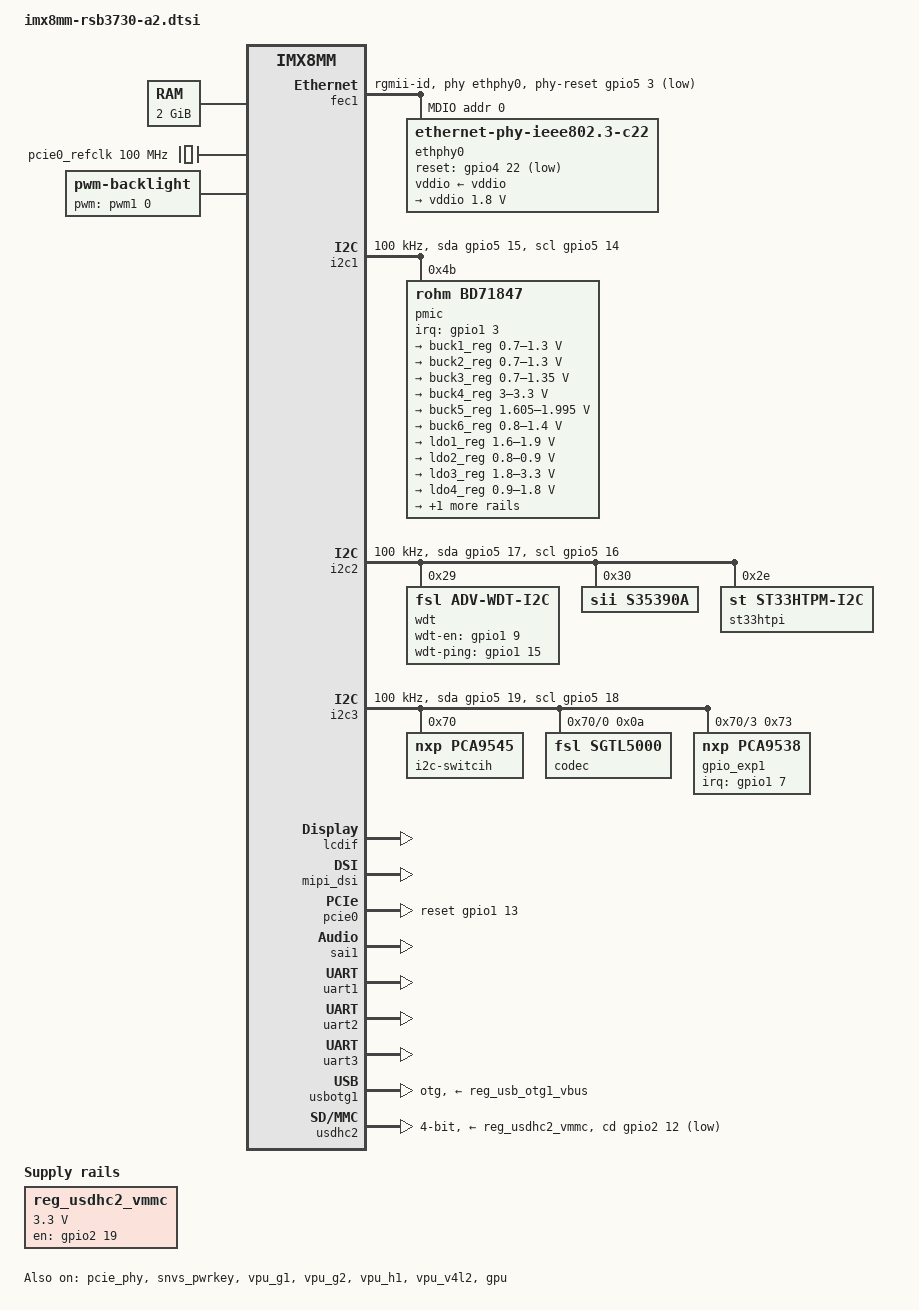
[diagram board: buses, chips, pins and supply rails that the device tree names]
// SPDX-License-Identifier: (GPL-2.0+ OR MIT)
/*
 * Copyright 2020 NXP
 */

/dts-v1/;

#include <dt-bindings/phy/phy-imx8-pcie.h>
#include <dt-bindings/usb/pd.h>
#include "imx8mm.dtsi"

/ {
	chosen {
		stdout-path = &uart2;
	};

	memory@40000000 {
		device_type = "memory";
		reg = <0x0 0x40000000 0 0x80000000>;
	};

	pcie0_refclk: pcie0-refclk {
		compatible = "fixed-clock";
		#clock-cells = <0>;
		clock-frequency = <100000000>;
	};

	reg_usdhc2_vmmc: regulator-usdhc2 {
		compatible = "regulator-fixed";
		pinctrl-names = "default";
		pinctrl-0 = <&pinctrl_reg_usdhc2_vmmc>;
		regulator-name = "VSD_3V3";
		regulator-min-microvolt = <3300000>;
		regulator-max-microvolt = <3300000>;
		gpio = <&gpio2 19 GPIO_ACTIVE_HIGH>;
		off-on-delay-us = <20000>;
		enable-active-high;
	};

	backlight: backlight {
		compatible = "pwm-backlight";
		pwms = <&pwm1 0 5000000 0>;
		brightness-levels = <0 255>;
		num-interpolated-steps = <255>;
		default-brightness-level = <250>;
	};
};

&A53_0 {
	cpu-supply = <&buck2_reg>;
};

&A53_1 {
	cpu-supply = <&buck2_reg>;
};

&A53_2 {
	cpu-supply = <&buck2_reg>;
};

&A53_3 {
	cpu-supply = <&buck2_reg>;
};

&fec1 {
	pinctrl-names = "default";
	pinctrl-0 = <&pinctrl_fec1>;
	phy-mode = "rgmii-id";
	phy-handle = <&ethphy0>;
	fsl,magic-packet;
	phy-reset-gpios = <&gpio5 3 GPIO_ACTIVE_LOW>;
	phy-reset-post-delay = <75>;
	phy-reset-duration = <50>;
	adv,disable-mii-clk;
	status = "okay";

	mdio {
		#address-cells = <1>;
		#size-cells = <0>;

		ethphy0: ethernet-phy@0 {
			compatible = "ethernet-phy-ieee802.3-c22";
			reg = <0>;
			reset-gpios = <&gpio4 22 GPIO_ACTIVE_LOW>;
			// reset-assert-us = <10000>;
			// reset-deassert-us = <80000>;
			realtek,aldps-enable;
			realtek,clkout-disable;
			qca,disable-smarteee;
			vddio-supply = <&vddio>;
			ssc-enable;

			vddio: vddio-regulator {
				regulator-min-microvolt = <1800000>;
				regulator-max-microvolt = <1800000>;
			};
		};
	};
};

&i2c1 {
	clock-frequency = <100000>;
	pinctrl-names = "default", "gpio";
	pinctrl-0 = <&pinctrl_i2c1>;
        pinctrl-1 = <&pinctrl_i2c1_gpio>;
        scl-gpios = <&gpio5 14 GPIO_ACTIVE_HIGH>;
        sda-gpios = <&gpio5 15 GPIO_ACTIVE_HIGH>;
	status = "okay";

	pmic@4b {
		compatible = "rohm,bd71847";
		reg = <0x4b>;
		pinctrl-0 = <&pinctrl_pmic>;
		interrupt-parent = <&gpio1>;
		interrupts = <3 GPIO_ACTIVE_LOW>;
		rohm,reset-snvs-powered;

		regulators {
			buck1_reg: BUCK1 {
				regulator-name = "BUCK1";
				regulator-min-microvolt = <700000>;
				regulator-max-microvolt = <1300000>;
				regulator-boot-on;
				regulator-always-on;
				regulator-ramp-delay = <1250>;
			};

			buck2_reg: BUCK2 {
				regulator-name = "BUCK2";
				regulator-min-microvolt = <700000>;
				regulator-max-microvolt = <1300000>;
				regulator-boot-on;
				regulator-always-on;
				regulator-ramp-delay = <1250>;
				rohm,dvs-run-voltage = <1000000>;
				rohm,dvs-idle-voltage = <900000>;
			};

			buck3_reg: BUCK3 {
				// BUCK5 in datasheet
				regulator-name = "BUCK3";
				regulator-min-microvolt = <700000>;
				regulator-max-microvolt = <1350000>;
				regulator-boot-on;
				regulator-always-on;
			};

			buck4_reg: BUCK4 {
				// BUCK6 in datasheet
				regulator-name = "BUCK4";
				regulator-min-microvolt = <3000000>;
				regulator-max-microvolt = <3300000>;
				regulator-boot-on;
				regulator-always-on;
			};

			buck5_reg: BUCK5 {
				// BUCK7 in datasheet
				regulator-name = "BUCK5";
				regulator-min-microvolt = <1605000>;
				regulator-max-microvolt = <1995000>;
				regulator-boot-on;
				regulator-always-on;
			};

			buck6_reg: BUCK6 {
				// BUCK8 in datasheet
				regulator-name = "BUCK6";
				regulator-min-microvolt = <800000>;
				regulator-max-microvolt = <1400000>;
				regulator-boot-on;
				regulator-always-on;
			};

			ldo1_reg: LDO1 {
				regulator-name = "LDO1";
				regulator-min-microvolt = <1600000>;
				regulator-max-microvolt = <1900000>;
				regulator-boot-on;
				regulator-always-on;
			};

			ldo2_reg: LDO2 {
				regulator-name = "LDO2";
				regulator-min-microvolt = <800000>;
				regulator-max-microvolt = <900000>;
				regulator-boot-on;
				regulator-always-on;
			};

			ldo3_reg: LDO3 {
				regulator-name = "LDO3";
				regulator-min-microvolt = <1800000>;
				regulator-max-microvolt = <3300000>;
				regulator-boot-on;
				regulator-always-on;
			};

			ldo4_reg: LDO4 {
				regulator-name = "LDO4";
				regulator-min-microvolt = <900000>;
				regulator-max-microvolt = <1800000>;
				regulator-boot-on;
				regulator-always-on;
			};

			ldo6_reg: LDO6 {
				regulator-name = "LDO6";
				regulator-min-microvolt = <900000>;
				regulator-max-microvolt = <1800000>;
				regulator-boot-on;
				regulator-always-on;
			};
		};
	};
};

&i2c2 {
	clock-frequency = <100000>;
	pinctrl-names = "default", "gpio";
	pinctrl-0 = <&pinctrl_i2c2>;
        pinctrl-1 = <&pinctrl_i2c2_gpio>;
        scl-gpios = <&gpio5 16 GPIO_ACTIVE_HIGH>;
        sda-gpios = <&gpio5 17 GPIO_ACTIVE_HIGH>;
	status = "okay";

	wdt@29 {
                compatible = "fsl,adv-wdt-i2c";
                pinctrl-names = "default";
                pinctrl-0 = <&pinctrl_wdt_en_1 &pinctrl_wdt_ping_1>;
                fix-first-comm-issue;
                status = "okay";
                wdt-en = <&gpio1 9 0>;
                wdt-ping = <&gpio1 15 0>;
                reg = <0x29>;
        };
	s35390a: s35390a@30 {
		 compatible = "sii,s35390a";
		 reg = <0x30>;
		status = "okay";
	};
       st33htpi: st33htpi@2e{
                compatible = "st,st33htpm-i2c";
                reg= <0x2e>;
                pinctrl-names = "default";
				status = "okay";
        };
};

&i2c3 {
	clock-frequency = <100000>;
	pinctrl-names = "default", "gpio";
	pinctrl-0 = <&pinctrl_i2c3>;
        pinctrl-1 = <&pinctrl_i2c3_gpio>;
        scl-gpios = <&gpio5 18 GPIO_ACTIVE_HIGH>;
        sda-gpios = <&gpio5 19 GPIO_ACTIVE_HIGH>;
	status = "okay";

        i2c-switcih@70 {
                #address-cells = <1>;
                #size-cells = <0>;
                compatible = "nxp,pca9545";
                reg = <0x70>;
		
                i2c@0 {
                        reg = <0>;
                        #address-cells = <1>;
                        #size-cells = <0>;
                        codec: sgtl5000@a {
                        compatible = "fsl,sgtl5000";
                        reg = <0x0a>;
                        clocks = <&clk IMX8MM_CLK_SAI1_ROOT>;
                        clock-names = "mclk";
                        pinctrl-names = "default";
                        pinctrl-0 = <&pinctrl_sai1_mclk>;
                        assigned-clocks = <&clk IMX8MM_CLK_SAI1>;
                        assigned-clock-parents = <&clk IMX8MM_AUDIO_PLL1_OUT>;
                        assigned-clock-rates = <24576000>;
                        };
                };

                i2c@1 {
                        reg = <1>;
                        #address-cells = <1>;
                        #size-cells = <0>;

            //             lt9611uxc: lt9611uxc@2b {
            //             compatible = "lontium,lt9611uxc";
            //             status = "disabled";
            //             reg = <0x2b>;
            //             #sound-dai-cells = <0>;

            //             reset-gpios = <&gpio5 5 GPIO_ACTIVE_HIGH>;
            //             interrupts-extended = <&gpio3 20 IRQ_TYPE_EDGE_FALLING>;
            //             pinctrl-names = "default";
            //             pinctrl-0 = <&pinctrl_hdmi_bridge>;
			// };
		};
                i2c@2 {
                        reg = <2>;
                        #address-cells = <1>;
                        #size-cells = <0>;
		};
                i2c@3 {
                        reg = <3>;
                        #address-cells = <1>;
                        #size-cells = <0>;
	
			gpio_exp1: pca9538@73 {
				compatible = "nxp,pca9538";
				reg = <0x73>;
				pinctrl-names = "default";
				pinctrl-0 = <&pinctrl_i2c_switch>;
				#gpio-cells = <2>;
				gpio-controller;
				interrupt-controller;
				interrupt-parent = <&gpio1>;
				interrupts = <7 IRQ_TYPE_LEVEL_LOW>;
			};
		};

	};
};

&lcdif {
       status = "okay";
};

// &lt9611uxc {
// 	status = "okay";

// 	ports {
// 		#address-cells = <1>;
// 		#size-cells = <0>;

// 		port@0 {
// 			reg = <0>;
// 			lt9611uxc_from_dsim: endpoint {
// 				remote-endpoint = <&dsim_to_lt9611uxc>;
// 			};
// 		};
// 	};
// };

&mipi_dsi {
       status = "okay";

    //    port@1 {
	// 	dsim_to_lt9611uxc: endpoint {
	// 		remote-endpoint = <&lt9611uxc_from_dsim>;
	// 		attach-bridge;
	// 	};
	// };
};

&pcie_phy {
        fsl,refclk-pad-mode = <IMX8_PCIE_REFCLK_PAD_INPUT>;
        fsl,clkreq-unsupported;
        fsl,tx-deemph-gen1 = <0x2d>;
        fsl,tx-deemph-gen2 = <0xf>;
        clocks = <&pcie0_refclk>;
        status = "okay";
};

&pcie0 {
	pinctrl-names = "default";
	pinctrl-0 = <&pinctrl_pcie0>;
	reset-gpio = <&gpio1 13 GPIO_ACTIVE_HIGH>;
	disable-gpio = <&gpio1 8 GPIO_ACTIVE_LOW>; //W_DISABLE1
	m2-pwr-en = <&gpio4 25 GPIO_ACTIVE_HIGH>;
	usb-host-pwr-en = <&gpio1 6 GPIO_ACTIVE_HIGH>; /* MINICARD_PWR_EN */
	clocks = <&clk IMX8MM_CLK_PCIE1_ROOT>, <&clk IMX8MM_CLK_PCIE1_AUX>,
		 <&pcie0_refclk>;
	clock-names = "pcie", "pcie_aux", "pcie_bus";
	assigned-clocks = <&clk IMX8MM_CLK_PCIE1_AUX>,
			  <&clk IMX8MM_CLK_PCIE1_CTRL>;
	assigned-clock-rates = <10000000>, <250000000>;
	assigned-clock-parents = <&clk IMX8MM_SYS_PLL2_50M>,
				 <&clk IMX8MM_SYS_PLL2_250M>;
	status = "okay";
};

&sai1 {
        pinctrl-names = "default";
        pinctrl-0 = <&pinctrl_sai1 &pinctrl_codec_mute>;
        assigned-clocks = <&clk IMX8MM_CLK_SAI1>;
        assigned-clock-parents = <&clk IMX8MM_AUDIO_PLL1_OUT>;
        assigned-clock-rates = <0>, <24576000>;
        mute-gpios = <&gpio4 0 GPIO_ACTIVE_HIGH>;	//audio mute
        status = "okay";
};

&snvs_pwrkey {
	status = "okay";
};

&uart1 {
	pinctrl-names = "default";
	pinctrl-0 = <&pinctrl_uart1>;
	assigned-clocks = <&clk IMX8MM_CLK_UART1>;
	assigned-clock-parents = <&clk IMX8MM_SYS_PLL1_80M>;
	fsl,uart-has-rtscts;
	resets = <&uart1_mod_reset>;
	status = "okay";
};

&uart2 { /* A53 console */
	pinctrl-names = "default";
	pinctrl-0 = <&pinctrl_uart2>;
	status = "okay";
};

&uart3 {
	pinctrl-names = "default";
	pinctrl-0 = <&pinctrl_uart3>;
	fsl,uart-has-rtscts;
	rs485-rts-active-low;
	status = "okay";
};

&usbotg1 {
	pinctrl-names = "default";
        pinctrl-0 = <&pinctrl_usbotg>;
	dr_mode = "otg";
	extcon = <0>;
        vbus-supply = <&reg_usb_otg1_vbus>;
	samsung,picophy-pre-emp-curr-control = <3>;
	samsung,picophy-dc-vol-level-adjust = <7>;
	status = "okay";
};

&usdhc2 {
	assigned-clocks = <&clk IMX8MM_CLK_USDHC2>;
	assigned-clock-rates = <200000000>;
	pinctrl-names = "default", "state_100mhz", "state_200mhz";
	pinctrl-0 = <&pinctrl_usdhc2>, <&pinctrl_usdhc2_gpio>;
	pinctrl-1 = <&pinctrl_usdhc2_100mhz>, <&pinctrl_usdhc2_gpio>;
	pinctrl-2 = <&pinctrl_usdhc2_200mhz>, <&pinctrl_usdhc2_gpio>;
	cd-gpios = <&gpio2 12 GPIO_ACTIVE_LOW>;
	// wp-gpios = <&gpio2 20 GPIO_ACTIVE_HIGH>;
	bus-width = <4>;
	vmmc-supply = <&reg_usdhc2_vmmc>;
	status = "okay";
};

&vpu_g1 {
	status = "okay";
};

&vpu_g2 {
	status = "okay";
};

&vpu_h1 {
	status = "okay";
};

&vpu_v4l2 {
	status = "okay";
};

&wdog1 {
	pinctrl-names = "default";
	pinctrl-0 = <&pinctrl_wdog>;
	fsl,ext-reset-output;
	status = "disabled";
};

&gpu {
	status = "okay";
};

&iomuxc {
	pinctrl_hdmi_bridge: hdmi_bridge {
		fsl,pins = <
			MX8MM_IOMUXC_SAI5_RXC_GPIO3_IO20		0x116	/* INT */
			MX8MM_IOMUXC_SPDIF_EXT_CLK_GPIO5_IO5		0x116	/* RST */
		>;
	};

	pinctrl_i2c_switch: i2c_switch_grp {
		fsl,pins = <
			MX8MM_IOMUXC_GPIO1_IO07_GPIO1_IO7		0x159	/* I2C_INT */
			MX8MM_IOMUXC_SAI5_RXFS_GPIO3_IO19		0x159	/* GPIO_11_12 Path Select*/
		>;
	};

	pinctrl_fec1: fec1grp {
		fsl,pins = <
			MX8MM_IOMUXC_ENET_MDC_ENET1_MDC			0x3
			MX8MM_IOMUXC_ENET_MDIO_ENET1_MDIO		0x3
			MX8MM_IOMUXC_ENET_TD3_ENET1_RGMII_TD3		0x1f
			MX8MM_IOMUXC_ENET_TD2_ENET1_RGMII_TD2		0x1f
			MX8MM_IOMUXC_ENET_TD1_ENET1_RGMII_TD1		0x1f
			MX8MM_IOMUXC_ENET_TD0_ENET1_RGMII_TD0		0x1f
			MX8MM_IOMUXC_ENET_RD3_ENET1_RGMII_RD3		0x91
			MX8MM_IOMUXC_ENET_RD2_ENET1_RGMII_RD2		0x91
			MX8MM_IOMUXC_ENET_RD1_ENET1_RGMII_RD1		0x91
			MX8MM_IOMUXC_ENET_RD0_ENET1_RGMII_RD0		0x91
			MX8MM_IOMUXC_ENET_TXC_ENET1_RGMII_TXC		0x1f
			MX8MM_IOMUXC_ENET_RXC_ENET1_RGMII_RXC		0x91
			MX8MM_IOMUXC_ENET_RX_CTL_ENET1_RGMII_RX_CTL	0x91
			MX8MM_IOMUXC_ENET_TX_CTL_ENET1_RGMII_TX_CTL	0x1f
			MX8MM_IOMUXC_SPDIF_TX_GPIO5_IO3		0x159
		>;
	};

	pinctrl_i2c1: i2c1grp {
		fsl,pins = <
			MX8MM_IOMUXC_I2C1_SCL_I2C1_SCL			0x400001c3
			MX8MM_IOMUXC_I2C1_SDA_I2C1_SDA			0x400001c3
		>;
	};

	pinctrl_i2c1_gpio: i2c1_gpio_grp {
		fsl,pins = <
			MX8MM_IOMUXC_I2C1_SCL_GPIO5_IO14		0x19
			MX8MM_IOMUXC_I2C1_SDA_GPIO5_IO15		0x19
		>;
	};

	pinctrl_i2c2: i2c2grp {
		fsl,pins = <
			MX8MM_IOMUXC_I2C2_SCL_I2C2_SCL			0x400001c3
			MX8MM_IOMUXC_I2C2_SDA_I2C2_SDA			0x400001c3
		>;
	};

	pinctrl_i2c2_gpio: i2c2_gpio_grp {
		fsl,pins = <
			MX8MM_IOMUXC_I2C2_SCL_GPIO5_IO16		0x19
			MX8MM_IOMUXC_I2C2_SDA_GPIO5_IO17		0x19
		>;
	};

	pinctrl_i2c3: i2c3grp {
		fsl,pins = <
			MX8MM_IOMUXC_I2C3_SCL_I2C3_SCL			0x400001c3
			MX8MM_IOMUXC_I2C3_SDA_I2C3_SDA			0x400001c3
		>;
	};

	pinctrl_i2c3_gpio: i2c3_gpio_grp {
		fsl,pins = <
			MX8MM_IOMUXC_I2C3_SCL_GPIO5_IO18		0x19
			MX8MM_IOMUXC_I2C3_SDA_GPIO5_IO19		0x19
		>;
	};

	pinctrl_pcie0: pcie0grp {
		fsl,pins = <
			MX8MM_IOMUXC_GPIO1_IO13_GPIO1_IO13		0x41	/* PCIE_RST */
			MX8MM_IOMUXC_SAI2_TXC_GPIO4_IO25		0x41    /* M2_PWR_EN */
			MX8MM_IOMUXC_GPIO1_IO08_GPIO1_IO8		0x41	/* M.2 W DIS1 */

			MX8MM_IOMUXC_GPIO1_IO06_GPIO1_IO6		0x41    /* MINICARD_PWR_EN */
			MX8MM_IOMUXC_SAI5_RXD3_GPIO3_IO24		0x41    /* MINICARD_RESET# */
			MX8MM_IOMUXC_SAI5_RXD2_GPIO3_IO23		0x41    /* MINICARD_W_DIS# */
			MX8MM_IOMUXC_SAI5_RXD1_GPIO3_IO22		0x41    /* MINICARD_DET# */
		>;
	};
	pinctrl_pmic: pmicirqgrp {
		fsl,pins = <
			MX8MM_IOMUXC_GPIO1_IO03_GPIO1_IO3		0x141
		>;
	};

	pinctrl_reg_usdhc2_vmmc: regusdhc2vmmcgrp {
		fsl,pins = <
			MX8MM_IOMUXC_SD2_RESET_B_GPIO2_IO19	0x41	/* SD2_PWR_EN_1V8 */
		>;
	};

	pinctrl_sai1: sai1grp {
		fsl,pins = <
			MX8MM_IOMUXC_SAI1_TXFS_SAI1_TX_SYNC	0xd6	/* SAI1_LRCK */
			MX8MM_IOMUXC_SAI1_TXC_SAI1_TX_BCLK	0xd6	/* SAI1_CK */
			MX8MM_IOMUXC_SAI1_TXD0_SAI1_TX_DATA0	0xd6	/* SAI1_SDOUT */
			MX8MM_IOMUXC_SAI1_RXD0_SAI1_RX_DATA0	0xd6	/* SAI1_SDIN */
		>;
	};

	pinctrl_sai1_mclk: sai1grp_mclk {
		fsl,pins = <
			MX8MM_IOMUXC_SAI1_MCLK_SAI1_MCLK	0xd6	/* SAI1_MCLK */
		>;
	};

	pinctrl_codec_mute: codec_mute  {
		fsl,pins = <
			MX8MM_IOMUXC_SAI1_RXFS_GPIO4_IO0	0x19	/* MUTE */
		>;
	};

	pinctrl_uart1: uart1grp {
		fsl,pins = <
			MX8MM_IOMUXC_SAI2_RXFS_UART1_DCE_TX     0x140
			MX8MM_IOMUXC_SAI2_RXC_UART1_DCE_RX     0x140
			MX8MM_IOMUXC_SAI2_RXD0_UART1_DCE_RTS_B  0x140
			MX8MM_IOMUXC_SAI2_TXFS_UART1_DCE_CTS_B  0x140
		>;
	};

	pinctrl_uart2: uart2grp {
		fsl,pins = <
			MX8MM_IOMUXC_SAI3_TXC_UART2_DCE_TX		0x140
			MX8MM_IOMUXC_SAI3_TXFS_UART2_DCE_RX		0x140
		>;
	};

	pinctrl_uart3: uart3grp {
		fsl,pins = <
			MX8MM_IOMUXC_UART3_RXD_UART3_DCE_RX		0x140
			MX8MM_IOMUXC_UART3_TXD_UART3_DCE_TX		0x140
			MX8MM_IOMUXC_ECSPI1_SS0_UART3_DCE_RTS_B		0x140
			MX8MM_IOMUXC_ECSPI1_MISO_UART3_DCE_CTS_B	0x140
			MX8MM_IOMUXC_ECSPI1_SCLK_GPIO5_IO6      0x19	/* UART EN */

			MX8MM_IOMUXC_SAI3_TXD_GPIO5_IO1			0x116	/* SEL0 */
			MX8MM_IOMUXC_SPDIF_RX_GPIO5_IO4			0x116	/* SEL1 */
			MX8MM_IOMUXC_SAI3_RXC_GPIO4_IO29		0x116	/* TERM */
		>;
	};

	pinctrl_usdhc1_gpio: usdhc1grpgpio {
		fsl,pins = <
			MX8MM_IOMUXC_SD1_RESET_B_GPIO2_IO10	0x41	/* WL_REG_ON */
		>;
	};

	pinctrl_usdhc1: usdhc1grp {
		fsl,pins = <
			MX8MM_IOMUXC_SD1_CLK_USDHC1_CLK		0x190
			MX8MM_IOMUXC_SD1_CMD_USDHC1_CMD		0x1d0
			MX8MM_IOMUXC_SD1_DATA0_USDHC1_DATA0	0x1d0
			MX8MM_IOMUXC_SD1_DATA1_USDHC1_DATA1	0x1d0
			MX8MM_IOMUXC_SD1_DATA2_USDHC1_DATA2	0x1d0
			MX8MM_IOMUXC_SD1_DATA3_USDHC1_DATA3	0x1d0
		>;
	};

	pinctrl_usdhc1_100mhz: usdhc1grp100mhz {
		fsl,pins = <
			MX8MM_IOMUXC_SD1_CLK_USDHC1_CLK		0x194
			MX8MM_IOMUXC_SD1_CMD_USDHC1_CMD		0x1d4
			MX8MM_IOMUXC_SD1_DATA0_USDHC1_DATA0	0x1d4
			MX8MM_IOMUXC_SD1_DATA1_USDHC1_DATA1	0x1d4
			MX8MM_IOMUXC_SD1_DATA2_USDHC1_DATA2	0x1d4
			MX8MM_IOMUXC_SD1_DATA3_USDHC1_DATA3	0x1d4
		>;
	};

	pinctrl_usdhc1_200mhz: usdhc1grp200mhz {
		fsl,pins = <
			MX8MM_IOMUXC_SD1_CLK_USDHC1_CLK		0x196
			MX8MM_IOMUXC_SD1_CMD_USDHC1_CMD		0x1d6
			MX8MM_IOMUXC_SD1_DATA0_USDHC1_DATA0	0x1d6
			MX8MM_IOMUXC_SD1_DATA1_USDHC1_DATA1	0x1d6
			MX8MM_IOMUXC_SD1_DATA2_USDHC1_DATA2	0x1d6
			MX8MM_IOMUXC_SD1_DATA3_USDHC1_DATA3	0x1d6
		>;
	};

	pinctrl_usdhc2_gpio: usdhc2grpgpiogrp {
		fsl,pins = <
			MX8MM_IOMUXC_SD2_CD_B_GPIO2_IO12	0x159	/* SD2_CD */
			MX8MM_IOMUXC_SD2_WP_GPIO2_IO20		0x159	/* SD2_WP */
		>;
	};

	pinctrl_usdhc2: usdhc2grp {
		fsl,pins = <
			MX8MM_IOMUXC_SD2_CLK_USDHC2_CLK		0x190
			MX8MM_IOMUXC_SD2_CMD_USDHC2_CMD		0x1d0
			MX8MM_IOMUXC_SD2_DATA0_USDHC2_DATA0	0x1d0
			MX8MM_IOMUXC_SD2_DATA1_USDHC2_DATA1	0x1d0
			MX8MM_IOMUXC_SD2_DATA2_USDHC2_DATA2	0x1d0
			MX8MM_IOMUXC_SD2_DATA3_USDHC2_DATA3	0x1d0
			MX8MM_IOMUXC_GPIO1_IO04_USDHC2_VSELECT	0x1d0
		>;
	};

	pinctrl_usdhc2_100mhz: usdhc2-100mhzgrp {
		fsl,pins = <
			MX8MM_IOMUXC_SD2_CLK_USDHC2_CLK		0x194
			MX8MM_IOMUXC_SD2_CMD_USDHC2_CMD		0x1d4
			MX8MM_IOMUXC_SD2_DATA0_USDHC2_DATA0	0x1d4
			MX8MM_IOMUXC_SD2_DATA1_USDHC2_DATA1	0x1d4
			MX8MM_IOMUXC_SD2_DATA2_USDHC2_DATA2	0x1d4
			MX8MM_IOMUXC_SD2_DATA3_USDHC2_DATA3	0x1d4
			MX8MM_IOMUXC_GPIO1_IO04_USDHC2_VSELECT	0x1d0
		>;
	};

	pinctrl_usdhc2_200mhz: usdhc2-200mhzgrp {
		fsl,pins = <
			MX8MM_IOMUXC_SD2_CLK_USDHC2_CLK		0x196
			MX8MM_IOMUXC_SD2_CMD_USDHC2_CMD		0x1d6
			MX8MM_IOMUXC_SD2_DATA0_USDHC2_DATA0	0x1d6
			MX8MM_IOMUXC_SD2_DATA1_USDHC2_DATA1	0x1d6
			MX8MM_IOMUXC_SD2_DATA2_USDHC2_DATA2	0x1d6
			MX8MM_IOMUXC_SD2_DATA3_USDHC2_DATA3	0x1d6
			MX8MM_IOMUXC_GPIO1_IO04_USDHC2_VSELECT	0x1d0
		>;
	};

	pinctrl_wdog: wdoggrp {
		fsl,pins = <
			MX8MM_IOMUXC_GPIO1_IO02_WDOG1_WDOG_B	0x166
		>;
	};

	pinctrl_usbotg: usbotggrp {
		fsl,pins = <
			MX8MM_IOMUXC_ECSPI1_MOSI_GPIO5_IO7	0x19	/* USB1_OTG_EN */
		>;
	};
};
